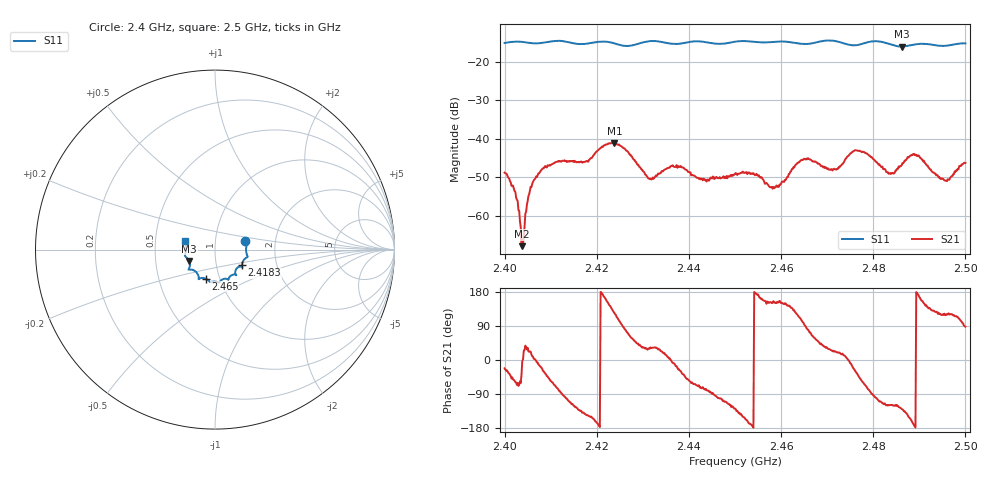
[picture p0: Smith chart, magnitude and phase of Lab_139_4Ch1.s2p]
# Hz S RI R 50
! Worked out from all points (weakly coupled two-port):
!   601 points, 2.4 GHz to 2.5 GHz, reference 50 ohm
!   highest |S21| = -41.10 dB at 2.4238 GHz (marker M1); lowest = -67.8 dB at 2.4037 GHz (marker M2)
!   lowest |S11| = -16.1 dB at 2.4862 GHz (marker M3), VSWR 1.37, Z = 37.2 - j4.83 ohm
!   |S11| at or under -10 dB: start of sweep to end of sweep
!   S12 and S22 are empty: the file has one direction only
!   S11 on the Smith chart (normalised r, x): 2.4 GHz: 1.40, +0.14; 2.4183 GHz: 1.33, -0.24; 2.465 GHz: 0.86, -0.28; 2.5 GHz: 0.71, +0.07
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2.4e9  0.1688 0.0473  0.00338 -0.00136  0 0  0 0
2.402333e9  0.1784 0.036  0.00107 -0.00175  0 0  0 0
2.403667e9  0.1786 0.0297  0.000315 -0.000255  0 0  0 0
2.404167e9  0.1777 0.0263  0.000525 0.000245  0 0  0 0
2.405667e9  0.1742 0.0124  0.00223 0.000882  0 0  0 0
2.407833e9  0.1739 -0.0137  0.00364 -0.00119  0 0  0 0
2.416667e9  0.1547 -0.0682  -0.00357 -0.0036  0 0  0 0
2.418333e9  0.1501 -0.0867  -0.00455 -0.00281  0 0  0 0
2.423833e9  0.1444 -0.0954  -0.00488 0.00734  0 0  0 0
2.431333e9  0.1175 -0.1423  0.00262 0.00157  0 0  0 0
2.433333e9  0.1174 -0.1409  0.00314 0.00166  0 0  0 0
2.45e9  0.026 -0.1799  -0.00218 -0.00276  0 0  0 0
2.458667e9  -0.0214 -0.1802  -0.00206 0.00111  0 0  0 0
2.465e9  -0.0524 -0.1614  -0.000419 0.00551  0 0  0 0
2.466667e9  -0.0711 -0.1578  0.00219 0.00473  0 0  0 0
2.471667e9  -0.0906 -0.1624  0.00371 0.00158  0 0  0 0
2.4765e9  -0.1159 -0.1164  0.00573 -0.00411  0 0  0 0
2.483333e9  -0.1411 -0.0966  -0.00169 -0.00309  0 0  0 0
2.486167e9  -0.1437 -0.0634  -0.00288 -0.00352  0 0  0 0
2.489333e9  -0.1637 -0.0395  -0.00605 9.59e-05  0 0  0 0
2.496e9  -0.1609 0.0158  -0.00147 0.00241  0 0  0 0
2.5e9  -0.1665 0.047  0.000172 0.00487  0 0  0 0
